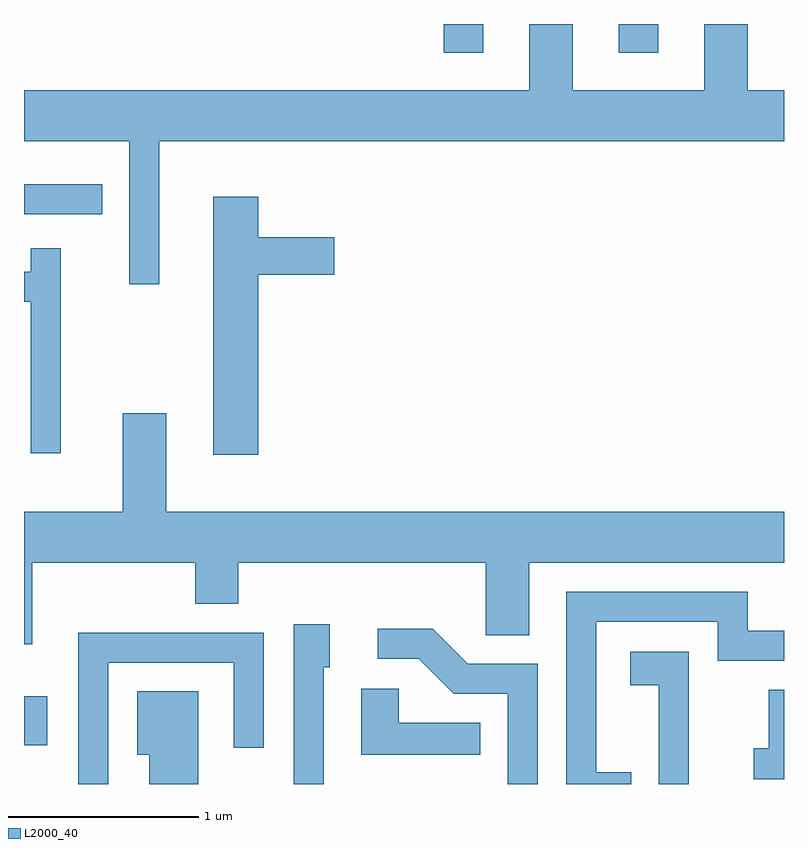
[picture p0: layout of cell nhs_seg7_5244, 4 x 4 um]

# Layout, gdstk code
import gdstk
lib = gdstk.Library(unit=1e-6, precision=1e-09)
def R(c, l, rs):  # rectangles x0, y0, x1, y1
    for r in rs: c.add(gdstk.rectangle(r[:2], r[2:], *l))
def P(c, l, *ps):  # polygons
    for p in ps: c.add(gdstk.Polygon(p, *l))
L2000_40 = (2000, 40)

nhs_seg7_5244 = lib.new_cell('nhs_seg7_5244')
R(nhs_seg7_5244, L2000_40, [(345.611,1724.456,345.734,1724.714), (345.611,1727.251,346.023,1727.409), (347.821,1728.101,348.029,1728.252), (348.741,1728.101,348.949,1728.252)])
P(nhs_seg7_5244, L2000_40, [(346.324,1727.636),(349.611,1727.636),(349.611,1727.904),(349.419,1727.904),(349.419,1728.252),(349.191,1728.252),(349.191,1727.904),(348.499,1727.904),(348.499,1728.252),(348.271,1728.252),(348.271,1727.904),(345.611,1727.904),(345.611,1727.636),(346.166,1727.636),(346.166,1726.883),(346.324,1726.883)],
  [(346.844,1726.931),(347.244,1726.931),(347.244,1727.129),(346.844,1727.129),(346.844,1727.344),(346.606,1727.344),(346.606,1725.986),(346.844,1725.986)],
  [(345.804,1727.073),(345.646,1727.073),(345.646,1726.949),(345.611,1726.949),(345.611,1726.791),(345.646,1726.791),(345.646,1725.993),(345.804,1725.993)],
  [(345.654,1725.416),(346.511,1725.416),(346.511,1725.201),(346.739,1725.201),(346.739,1725.416),(348.041,1725.416),(348.041,1725.036),(348.269,1725.036),(348.269,1725.416),(349.611,1725.416),(349.611,1725.684),(346.359,1725.684),(346.359,1726.204),(346.131,1726.204),(346.131,1725.684),(345.611,1725.684),(345.611,1724.988),(345.654,1724.988)],
  [(348.808,1724.314),(348.624,1724.314),(348.624,1725.106),(349.261,1725.106),(349.261,1724.901),(349.611,1724.901),(349.611,1725.059),(349.419,1725.059),(349.419,1725.264),(348.466,1725.264),(348.466,1724.252),(348.808,1724.252)],
  [(347.189,1724.866),(347.219,1724.866),(347.219,1725.094),(347.031,1725.094),(347.031,1724.252),(347.189,1724.252)],
  [(348.314,1724.884),(347.947,1724.884),(347.762,1725.069),(347.473,1725.069),(347.473,1724.911),(347.689,1724.911),(347.874,1724.726),(348.156,1724.726),(348.156,1724.252),(348.314,1724.252)],
  [(346.054,1724.891),(346.716,1724.891),(346.716,1724.443),(346.874,1724.443),(346.874,1725.049),(345.896,1725.049),(345.896,1724.252),(346.054,1724.252)],
  [(349.109,1724.949),(348.801,1724.949),(348.801,1724.771),(348.951,1724.771),(348.951,1724.252),(349.109,1724.252)],
  [(348.013,1724.574),(347.584,1724.574),(347.584,1724.754),(347.386,1724.754),(347.386,1724.406),(348.013,1724.406)],
  [(349.611,1724.749),(349.531,1724.749),(349.531,1724.439),(349.453,1724.439),(349.453,1724.276),(349.611,1724.276)],
  [(346.529,1724.739),(346.206,1724.739),(346.206,1724.406),(346.271,1724.406),(346.271,1724.252),(346.529,1724.252)])

lib.write_gds('nhs_seg7_5244.gds')
